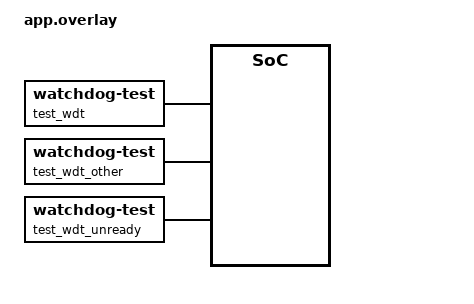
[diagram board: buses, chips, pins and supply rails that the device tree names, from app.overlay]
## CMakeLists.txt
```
# SPDX-License-Identifier: Apache-2.0

cmake_minimum_required(VERSION 3.20.0)

find_package(Zephyr REQUIRED HINTS $ENV{ZEPHYR_BASE})
project(watchdog_rust_test)

set(DT_AUGMENTS "${CMAKE_CURRENT_SOURCE_DIR}/dt-rust.yaml")
target_sources_ifdef(CONFIG_WATCHDOG app PRIVATE src/driver.c)
rust_cargo_application()
```

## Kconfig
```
# SPDX-License-Identifier: Apache-2.0

source "Kconfig.zephyr"

config TEST_WDT_MULTISTAGE
	bool "Test single-stage configurations with multistage layout"
	depends on WATCHDOG
	select HAS_WDT_MULTISTAGE
	select WDT_MULTISTAGE
```

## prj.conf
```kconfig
# SPDX-License-Identifier: Apache-2.0

CONFIG_RUST=y
CONFIG_WATCHDOG=y
CONFIG_TEST=y
CONFIG_IRQ_OFFLOAD=y
CONFIG_ASSERT=y
CONFIG_MAIN_STACK_SIZE=4096
```

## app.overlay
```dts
// SPDX-License-Identifier: Apache-2.0

/ {
	aliases {
		watchdog0 = &test_wdt;
	};

	test_wdt: test-watchdog {
		compatible = "zephyr,watchdog-test";
	};

	test_wdt_other: test-watchdog-other {
		compatible = "zephyr,watchdog-test";
	};

	test_wdt_unready: test-watchdog-unready {
		compatible = "zephyr,watchdog-test";
	};
};
```

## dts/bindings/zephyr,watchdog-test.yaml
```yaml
# SPDX-License-Identifier: Apache-2.0

description: Watchdog driver fixture for Rust API tests
compatible: "zephyr,watchdog-test"
include: base.yaml
```

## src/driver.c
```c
// SPDX-License-Identifier: Apache-2.0

#include <errno.h>
#include <zephyr/device.h>
#include <zephyr/drivers/watchdog.h>
#include <zephyr/irq_offload.h>
#include <zephyr/kernel.h>
#include <zephyr/sys/__assert.h>

static int result;
static unsigned int calls;
static struct wdt_window last_window;
static uint8_t last_flags;
static uint8_t last_options;
static int last_channel;
static bool hold_feed;
K_SEM_DEFINE(feed_entered, 0, 1);
K_SEM_DEFINE(feed_release, 0, 1);

/* Reference irq_offload from the C app archive to satisfy static link order. */
void test_wdt_irq_offload(irq_offload_routine_t routine, const void *parameter)
{
	irq_offload(routine, parameter);
}

void test_wdt_hold_feed(void)
{
	hold_feed = true;
}

void test_wdt_wait_for_feed(void)
{
	__ASSERT_NO_MSG(k_sem_take(&feed_entered, K_SECONDS(5)) == 0);
}

void test_wdt_release_feed(void)
{
	k_sem_give(&feed_release);
}

void test_wdt_result(int value)
{
	result = value;
	calls = 0;
}

unsigned int test_wdt_calls(void)
{
	return calls;
}

void test_wdt_check_timeout(uint32_t min, uint32_t max, uint8_t flags)
{
	__ASSERT_NO_MSG(last_window.min == min);
	__ASSERT_NO_MSG(last_window.max == max);
	__ASSERT_NO_MSG(last_flags == flags);
}

void test_wdt_check_options(uint8_t options)
{
	__ASSERT_NO_MSG(last_options == options);
}

void test_wdt_check_channel(int channel)
{
	__ASSERT_NO_MSG(last_channel == channel);
}

static int test_install(const struct device *dev,
			const struct wdt_timeout_cfg *cfg)
{
	ARG_UNUSED(dev);
	__ASSERT_NO_MSG(cfg->callback == NULL);
#ifdef CONFIG_WDT_MULTISTAGE
	__ASSERT_NO_MSG(cfg->next == NULL);
#endif
	last_window = cfg->window;
	last_flags = cfg->flags;
	calls++;
	return result;
}

static int test_setup(const struct device *dev, uint8_t options)
{
	ARG_UNUSED(dev);
	last_options = options;
	calls++;
	return result;
}

static int test_feed(const struct device *dev, int channel)
{
	ARG_UNUSED(dev);
	last_channel = channel;
	calls++;
	if (hold_feed) {
		hold_feed = false;
		k_sem_give(&feed_entered);
		__ASSERT_NO_MSG(k_sem_take(&feed_release, K_SECONDS(5)) == 0);
	}
	return result;
}

static int test_disable(const struct device *dev)
{
	ARG_UNUSED(dev);
	calls++;
	return result;
}

static int test_unready_init(const struct device *dev)
{
	ARG_UNUSED(dev);
	return -ENODEV;
}

static DEVICE_API(wdt, test_api) = {
	.install_timeout = test_install,
	.setup = test_setup,
	.feed = test_feed,
	.disable = test_disable,
};

DEVICE_DT_DEFINE(DT_NODELABEL(test_wdt), NULL, NULL, NULL, NULL,
		 POST_KERNEL, CONFIG_KERNEL_INIT_PRIORITY_DEVICE, &test_api);
DEVICE_DT_DEFINE(DT_NODELABEL(test_wdt_other), NULL, NULL, NULL, NULL,
		 POST_KERNEL, CONFIG_KERNEL_INIT_PRIORITY_DEVICE, &test_api);
DEVICE_DT_DEFINE(DT_NODELABEL(test_wdt_unready), test_unready_init, NULL,
		 NULL, NULL, POST_KERNEL,
		 CONFIG_KERNEL_INIT_PRIORITY_DEVICE, &test_api);
```
